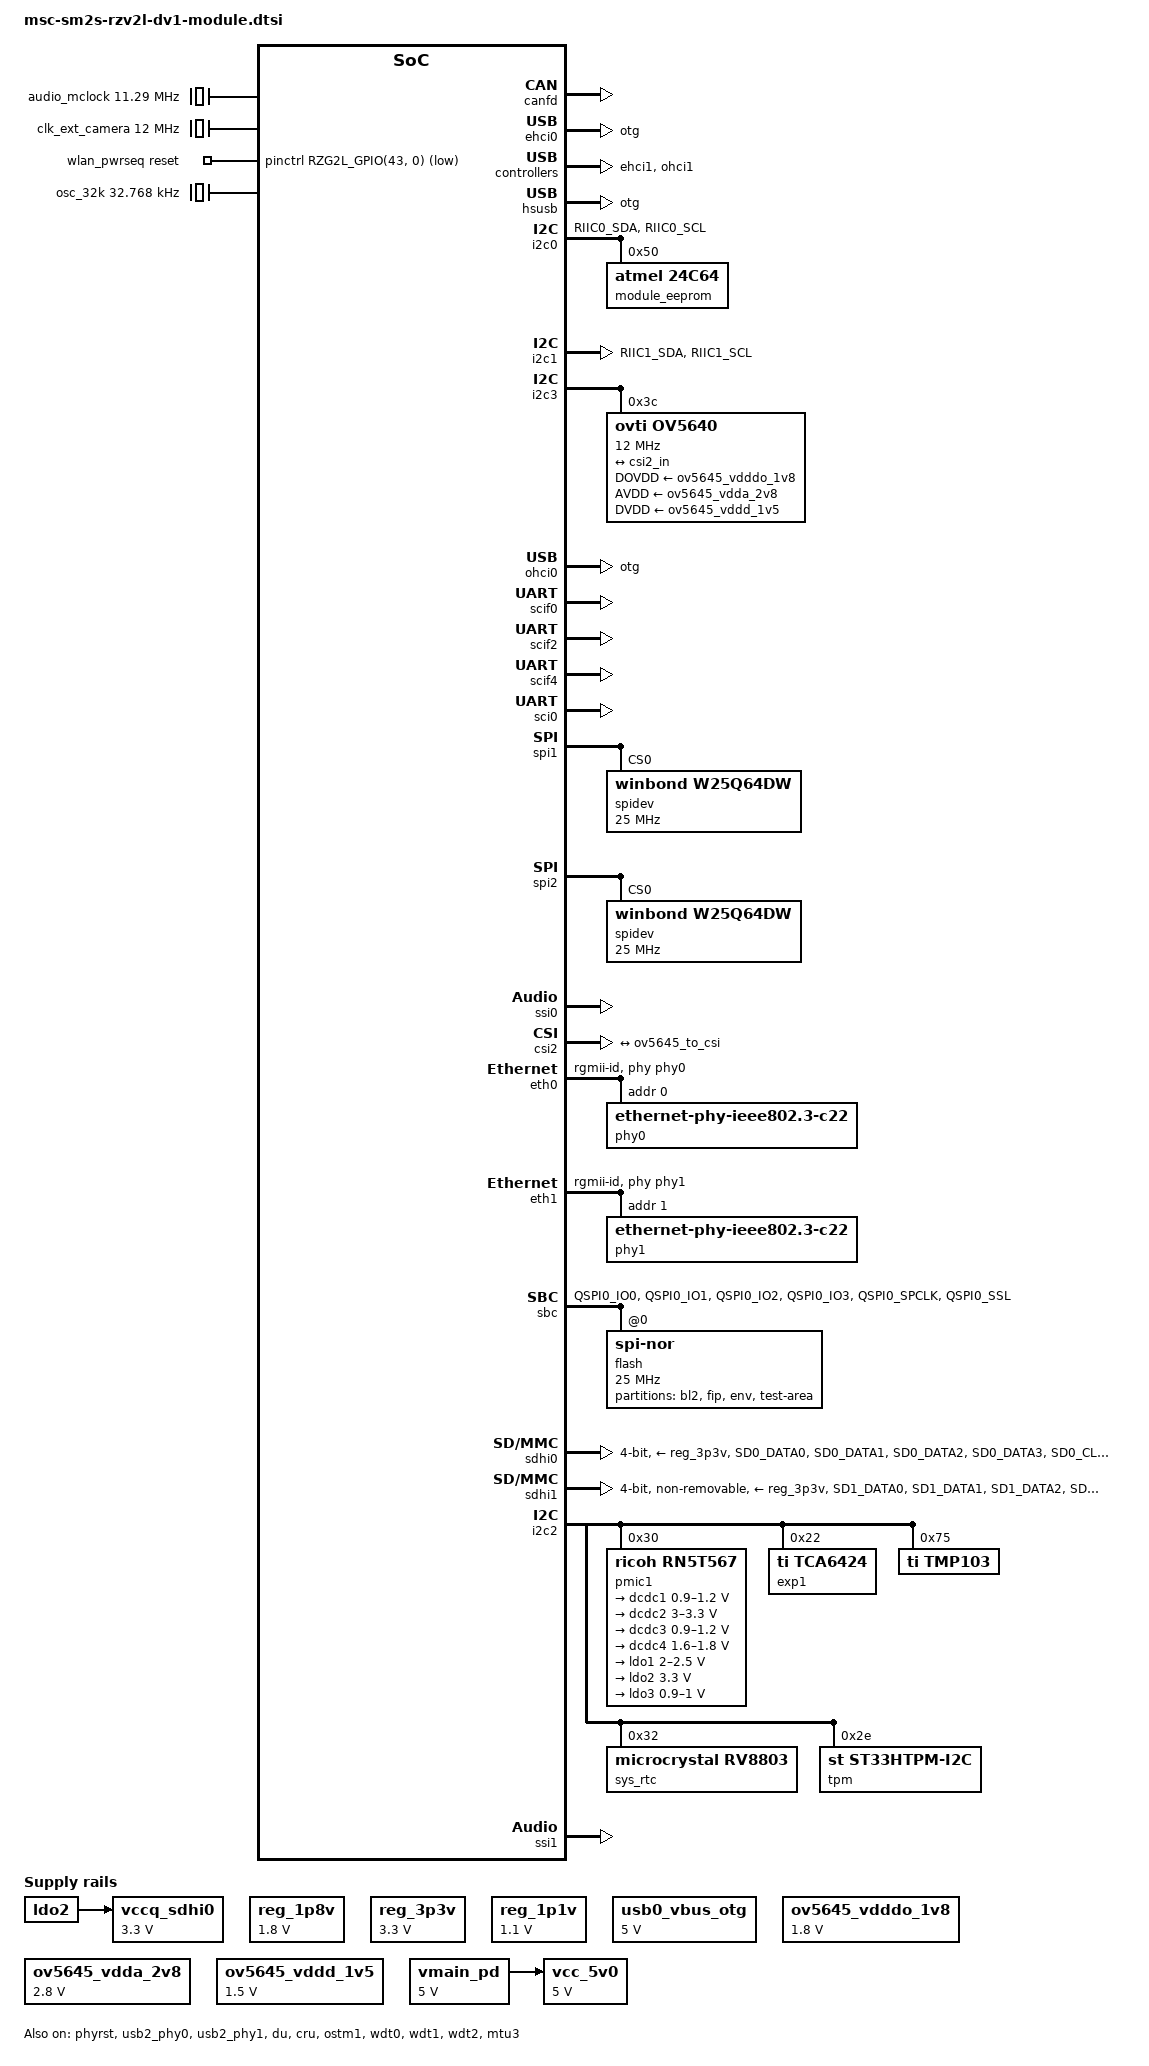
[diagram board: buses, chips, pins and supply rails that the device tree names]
/*                                                                    
 * Copyright (C) 2022 Avnet Embedded GmbH                             
 *                                                                    
 * This program is free software; you can redistribute it and/or      
 * modify it under the terms of the GNU General Public License as     
 * published by the Free Software Foundation version 2.               
 *                                                                    
 * This program is distributed "as is" WITHOUT ANY WARRANTY of any    
 * kind, whether express or implied; without even the implied warranty
 * of MERCHANTABILITY or FITNESS FOR A PARTICULAR PURPOSE.  See the   
 * GNU General Public License for more details.                       
 */                                                                   

#include <dt-bindings/gpio/gpio.h>
#include <dt-bindings/pinctrl/rzg2l-pinctrl.h>
#include <dt-bindings/interrupt-controller/arm-gic.h>
#include <dt-bindings/clock/r9a07g054-cpg.h>         
#include <dt-bindings/net/ti-dp83867.h>

/ {
	aliases {
		ethernet0 = &eth0;
		serial0 = &scif0;
		i2c0 = &i2c0;
		i2c1 = &i2c1;
		i2c2 = &i2c2;
		i2c3 = &i2c3;
		mmc0 = &sdhi0;
		mmc1 = &sdhi1;
	};

	chosen {
		bootargs = "ignore_loglevel";
		stdout-path = "serial0:115200n8";
	};

	audio_mclock: audio_mclock {
        	compatible = "fixed-clock";
        	#clock-cells = <0>;
        	clock-frequency = <11289600>;
	};
	
	reg_1p8v: regulator0 {
		compatible = "regulator-fixed";
		regulator-name = "fixed-1.8V";
		regulator-min-microvolt = <1800000>;
		regulator-max-microvolt = <1800000>;
		regulator-boot-on;
		regulator-always-on;
	};

	reg_3p3v: regulator1 {
		compatible = "regulator-fixed";
		regulator-name = "fixed-3.3V";
		regulator-min-microvolt = <3300000>;
		regulator-max-microvolt = <3300000>;
		regulator-boot-on;
		regulator-always-on;
	};

	reg_1p1v: regulator-vdd-core {
		compatible = "regulator-fixed";
		regulator-name = "fixed-1.1V";
		regulator-min-microvolt = <1100000>;
		regulator-max-microvolt = <1100000>;
		regulator-boot-on;
		regulator-always-on;
	};

	usb0_vbus_otg: regulator-usb0-vbus-otg {
		compatible = "regulator-fixed";
		regulator-name = "USB0_VBUS_OTG";
		regulator-min-microvolt = <5000000>;
		regulator-max-microvolt = <5000000>;
	};

	vring-ctl0@43000000 {
		compatible = "vring_uio";
		reg = <0x0 0x43000000 0x0 0x100000>;
		no-map;
	};

	vring-ctl1@43100000 {
		compatible = "vring_uio";
		reg = <0x0 0x43100000 0x0 0x100000>;
		no-map;
	};

	vring-shm0@43200000 {
		compatible = "shm_uio";
		reg = <0x0 0x43200000 0x0 0x300000>;
		no-map;
	};

	vring-shm1@43500000 {
		compatible = "shm_uio";
		reg = <0x0 0x43500000 0x0 0x300000>;
		no-map;
	};

	rsctbl@42f00000 {
		compatible = "shm_uio";
		reg = <0x0 0x42f00000 0x0 0x1000>;
		no-map;
	};

	mhu-shm@42f01000 {
		compatible = "shm_uio";
		reg = <0x0 0x42f01000 0x0 0x1000>;
		no-map;
	};

	mbox-uio@10400000 {
		compatible = "mbox_uio";
		reg = <0x0 0x10400000 0x0 0x1000>;
		interrupt-parent = <&gic>;
		interrupts = <GIC_SPI 75 IRQ_TYPE_LEVEL_HIGH>;
		status = "okay";
	};

	/* For SD Card we use UHS mode and use 1.8 V */
	vccq_sdhi0: regulator-vccq-sdhi0 {
		compatible = "regulator-fixed";
		regulator-name = "SDHI0 VccQ";
		regulator-min-microvolt = <3300000>;
		regulator-max-microvolt = <3300000>;
		vin-supply = <&ldo2>;
		regulator-always-on;
		regulator-boot-on;
	};

	clk_ext_camera: clk_ext_camera {
		compatible = "fixed-clock";
		#clock-cells = <0>;
		clock-frequency = <12000000>;
	};

	ov5645_vdddo_1v8: 1p8v {
		compatible = "regulator-fixed";
		regulator-name = "camera_vdddo";
		regulator-min-microvolt = <1800000>;
		regulator-max-microvolt = <1800000>;
		regulator-always-on;
	};

	ov5645_vdda_2v8: 2p8v {
		compatible = "regulator-fixed";
		regulator-name = "camera_vdda";
		regulator-min-microvolt = <2800000>;
		regulator-max-microvolt = <2800000>;
		regulator-always-on;
	 };

	ov5645_vddd_1v5: 1p5v {
		compatible = "regulator-fixed";
		regulator-name = "camera_vddd";
		regulator-min-microvolt = <1500000>;
		regulator-max-microvolt = <1500000>;
		regulator-always-on;
	};
	
	vmain_pd: regulator3 {
        	compatible = "regulator-fixed";
        	regulator-name = "vmain_pd";
        	regulator-min-microvolt = <5000000>;
        	regulator-max-microvolt = <5000000>;
        	regulator-always-on;
        	regulator-boot-on;
	};

	vcc_5v0: regulator2 {
        	compatible = "regulator-fixed";
        	regulator-name = "vcc_5v0";
        	regulator-min-microvolt = <5000000>;
        	regulator-max-microvolt = <5000000>;
        	vin-supply = <&vmain_pd>;
        	regulator-always-on;
        	regulator-boot-on;
	};

	/*extcon_usbotg1: extcon_usbotg1 {
		pinctrl-names = "default";
		pinctrl-0 = <&usb0_otg>;
        	compatible = "linux,extcon-usb-gpio";
        	id-gpio = <&pinctrl RZG2L_GPIO(5, 1) GPIO_ACTIVE_HIGH>;
	};*/

	wlan_pwrseq: wlan_pwrseq {
	        compatible = "mmc-pwrseq-simple";
	        reset-gpios = <&pinctrl RZG2L_GPIO(43, 0) GPIO_ACTIVE_LOW>;  /* WIFI_EN_DEV */
	        clocks = <&osc_32k>;
	        clock-names = "ext_clock";
	        post-power-on-delay-ms = <80>;
	};

	osc_32k: osc_32k {
	        compatible = "fixed-clock";
	        #clock-cells = <0>;
	        clock-frequency = <32768>;
	        clock-output-names = "osc_32k";
	};

};

&audio_clk1{
	clock-frequency = <11289600>;
};

&audio_clk2{
	clock-frequency = <11289600>;
};

&canfd {
	pinctrl-0 = <&can0_pins &can1_pins>;
	pinctrl-names = "default";
	status = "okay";

	channel0 {
		status = "okay";
	};

	channel1 {
		status = "okay";
	};
};

&ehci0 {
	dr_mode = "otg";
	status = "okay";
};

&ehci1 {
	status = "okay";
};

&hsusb {
	dr_mode = "otg";
	status = "okay";
};

&i2c0 {
	pinctrl-0 = <&i2c0_pins>;
	pinctrl-names = "default";

	status = "okay";

	module_eeprom@50 {
        	compatible = "atmel,24c64";
        	reg = <0x50>;
        	pagesize = <32>;
	};
};

&i2c1 {
	pinctrl-0 = <&i2c1_pins>;
	pinctrl-names = "default";

	status = "okay";
};

&i2c3 {
	pinctrl-0 = <&i2c3_pins>;
	pinctrl-names = "default";

	status = "okay";

	ov5640: ov5640@3c {
        	compatible = "ovti,ov5640";
        	reg = <0x3c>;
        	clock-names = "xclk";
        	clocks = <&clk_ext_camera>;
        	clock-frequency = <12000000>;
        	DOVDD-supply = <&ov5645_vdddo_1v8>;
        	AVDD-supply = <&ov5645_vdda_2v8>;
        	DVDD-supply = <&ov5645_vddd_1v5>;

        	port {
        	        ov5645_to_csi: endpoint {
        	                clock-lanes = <0>;
        	                data-lanes = <1 2>;
        	                remote-endpoint = <&csi2_in>;
        	                bus-width = <8>;
        	                hsync-active = <0>;
        	                vsync-active = <1>;
        	                pclk-sample = <0>;
        	        };
        	};
	};
};

&ohci0 {
	dr_mode = "otg";
	status = "okay";
};

&ohci1 {
	status = "okay";
};

&phyrst {
	status = "okay";
};

&scif0 {
	pinctrl-0 = <&scif0_pins>;
	pinctrl-names = "default";
	status = "okay";
};

&scif2 {
        pinctrl-0 = <&scif2_pins>;
        pinctrl-names = "default";
        uart-has-rtscts;
        status = "okay";
};

&scif4 {
        pinctrl-0 = <&scif4_pins>;
        pinctrl-names = "default";
        status = "okay";
};

&sci0 {
        pinctrl-0 = <&sci0_pins>;
        pinctrl-names = "default";
        status = "okay";
};

&spi1 {
        pinctrl-0 = <&spi1_pins>;
        pinctrl-names = "default";
        status = "okay";

        spidev@0x00 {
                compatible="winbond,w25q64dw","jedec,spi-nor";
                spi-max-frequency = <25000000>;
                reg = <0>;
        };
};

&spi2 {
        pinctrl-0 = <&spi2_pins>;
        pinctrl-names = "default";
        status = "okay";

        spidev@0x00 {
                compatible="winbond,w25q64dw","jedec,spi-nor";
                spi-max-frequency = <25000000>;
                reg = <0>;
        };
};

&ssi0 {
	pinctrl-0 = <&ssi0_pins>;
	pinctrl-names = "default";

	status = "okay";
};

&usb2_phy0 {
	pinctrl-0 = <&usb0_pins>;
	pinctrl-names = "default";
	dr_mode = "peripheral";
	usb-role-switch;
	gpio = <&pinctrl RZG2L_GPIO(5, 1) GPIO_ACTIVE_HIGH>;
	//extcon = <&extcon_usbotg1>;
	vbus-supply = <&usb0_vbus_otg>;
	status = "okay";
};

&usb2_phy1 {
	pinctrl-0 = <&usb1_pins>;
	pinctrl-names = "default";

	status = "okay";
};

&du {
	status = "okay";
};

&cru {
	status = "okay";
};

&csi2 {
	status = "okay";

	ports {
		port {
			csi2_in: endpoint {
				clock-lanes = <0>;
				data-lanes = <1 2>;
				remote-endpoint = <&ov5645_to_csi>;
			};
		};
	};
};

&eth0 {
        pinctrl-0 = <&eth0_pins>;
        pinctrl-names = "default";
        phy-handle = <&phy0>;
        phy-mode = "rgmii-id";
        status = "okay";

        phy0: ethernet-phy@0 {
                compatible = "ethernet-phy-ieee802.3-c22";
                reg = <0>;
                ti,rx-internal-delay = <DP83867_RGMIIDCTL_2_00_NS>;
                ti,tx-internal-delay = <DP83867_RGMIIDCTL_2_00_NS>;
                ti,fifo-depth = <DP83867_PHYCR_FIFO_DEPTH_4_B_NIB>;
                ti,min-output-impedance;
        };
};


&eth1 {
	pinctrl-0 = <&eth1_pins>;
	pinctrl-names = "default";
	phy-handle = <&phy1>;
	phy-mode = "rgmii-id";
	status = "okay";

	phy1: ethernet-phy@1 {
		compatible = "ethernet-phy-ieee802.3-c22";
		reg = <1>;
                ti,rx-internal-delay = <DP83867_RGMIIDCTL_2_00_NS>;
                ti,tx-internal-delay = <DP83867_RGMIIDCTL_2_00_NS>;
                ti,fifo-depth = <DP83867_PHYCR_FIFO_DEPTH_4_B_NIB>;
                ti,min-output-impedance;
	};
};

&extal_clk {
	clock-frequency = <24000000>;
};

&gpu {
	mali-supply = <&reg_1p1v>;
};

&ostm1 {
	status = "okay";
};

&ostm2 {
	status = "disabled";
};

&pinctrl {
	
	pinctrl-0 = <&sound_clk_pins>;
	pinctrl-names = "default";
	
	eth0_pins: eth0 {
		pinmux = <RZG2L_PORT_PINMUX(28, 1, 1)>, /* ET0_LINKSTA */
			 <RZG2L_PORT_PINMUX(27, 1, 1)>, /* ET0_MDC */
			 <RZG2L_PORT_PINMUX(28, 0, 1)>, /* ET0_MDIO */
			 <RZG2L_PORT_PINMUX(20, 0, 1)>, /* ET0_TXC */
			 <RZG2L_PORT_PINMUX(20, 1, 1)>, /* ET0_TX_CTL */
			 <RZG2L_PORT_PINMUX(20, 2, 1)>, /* ET0_TXD0 */
			 <RZG2L_PORT_PINMUX(21, 0, 1)>, /* ET0_TXD1 */
			 <RZG2L_PORT_PINMUX(21, 1, 1)>, /* ET0_TXD2 */
			 <RZG2L_PORT_PINMUX(22, 0, 1)>, /* ET0_TXD3 */
			 <RZG2L_PORT_PINMUX(24, 0, 1)>, /* ET0_RXC */
			 <RZG2L_PORT_PINMUX(24, 1, 1)>, /* ET0_RX_CTL */
			 <RZG2L_PORT_PINMUX(25, 0, 1)>, /* ET0_RXD0 */
			 <RZG2L_PORT_PINMUX(25, 1, 1)>, /* ET0_RXD1 */
			 <RZG2L_PORT_PINMUX(26, 0, 1)>, /* ET0_RXD2 */
			 <RZG2L_PORT_PINMUX(26, 1, 1)>; /* ET0_RXD3 */
	};

	eth1_pins: eth1 {
		pinmux = <RZG2L_PORT_PINMUX(37, 2, 1)>, /* ET1_LINKSTA */
			 <RZG2L_PORT_PINMUX(37, 0, 1)>, /* ET1_MDC */
			 <RZG2L_PORT_PINMUX(37, 1, 1)>, /* ET1_MDIO */
			 <RZG2L_PORT_PINMUX(29, 0, 1)>, /* ET1_TXC */
			 <RZG2L_PORT_PINMUX(29, 1, 1)>, /* ET1_TX_CTL */
			 <RZG2L_PORT_PINMUX(30, 0, 1)>, /* ET1_TXD0 */
			 <RZG2L_PORT_PINMUX(30, 1, 1)>, /* ET1_TXD1 */
			 <RZG2L_PORT_PINMUX(31, 0, 1)>, /* ET1_TXD2 */
			 <RZG2L_PORT_PINMUX(31, 1, 1)>, /* ET1_TXD3 */
			 <RZG2L_PORT_PINMUX(33, 1, 1)>, /* ET1_RXC */
			 <RZG2L_PORT_PINMUX(34, 0, 1)>, /* ET1_RX_CTL */
			 <RZG2L_PORT_PINMUX(34, 1, 1)>, /* ET1_RXD0 */
			 <RZG2L_PORT_PINMUX(35, 0, 1)>, /* ET1_RXD1 */
			 <RZG2L_PORT_PINMUX(35, 1, 1)>, /* ET1_RXD2 */
			 <RZG2L_PORT_PINMUX(36, 0, 1)>; /* ET1_RXD3 */
	};

	qspi0_pins: qspi0 {
		qspi0-data {
			pins = "QSPI0_IO0", "QSPI0_IO1", "QSPI0_IO2", "QSPI0_IO3";
			power-source = <3300>;
		};

		qspi0-ctrl {
			pins = "QSPI0_SPCLK", "QSPI0_SSL";
			power-source = <3300>;
		};
	};

	sdhi1_emmc_pins: sd1emmc {
		sd1_emmc_data {
			pins = "SD1_DATA0", "SD1_DATA1", "SD1_DATA2", "SD1_DATA3",
			       "SD1_DATA4", "SD1_DATA5", "SD1_DATA6", "SD1_DATA7";
			power-source = <1800>;
		};

		sd1_emmc_ctrl {
			pins = "SD1_CLK", "SD1_CMD";
			power-source = <1800>;
		};

		/*sd0_emmc_rst {
			pins = "SD0_RST#";
			power-source = <1800>;
		};*/
	};

	sdhi0_pins: sd0 {
		sd0_data {
			pins = "SD0_DATA0", "SD0_DATA1", "SD0_DATA2", "SD0_DATA3";
			power-source = <3300>;
		};

		sd0_ctrl {
			pins = "SD0_CLK", "SD0_CMD";
			power-source = <3300>;
		};

		sd0_mux {
			pinmux = <RZG2L_PORT_PINMUX(18, 0, 1)>, /* SD0_CD */
				 <RZG2L_PORT_PINMUX(18, 1, 1)>; /* SD0_WP */
		};
	};

	sdhi0_pins_uhs: sd0_uhs {
		sd0_data_uhs {
			pins = "SD0_DATA0", "SD0_DATA1", "SD0_DATA2", "SD0_DATA3";
			power-source = <1800>;
		};

		sd0_ctrl_uhs {
			pins = "SD0_CLK", "SD0_CMD";
			power-source = <1800>;
		};

		sd0_mux_uhs {
			pinmux = <RZG2L_PORT_PINMUX(18, 0, 1)>, /* SD0_CD */
				 <RZG2L_PORT_PINMUX(18, 1, 1)>; /* SD0_WP */
		};
	};

	can0_pins: can0 {
		pinmux = <RZG2L_PORT_PINMUX(10, 1, 2)>, /* TX */
			 <RZG2L_PORT_PINMUX(11, 0, 2)>; /* RX */
	};

	can1_pins: can1 {
		pinmux = <RZG2L_PORT_PINMUX(12, 1, 2)>, /* TX */
			 <RZG2L_PORT_PINMUX(13, 0, 2)>; /* RX */
	};

	i2c0_pins: i2c0 {
		pins = "RIIC0_SDA", "RIIC0_SCL";
		input-enable;
	};

	i2c1_pins: i2c1 {
		pins = "RIIC1_SDA", "RIIC1_SCL";
		input-enable;
	};

	/*Added I2C-2 node*/
	i2c2_pins: i2c2 {
        	pinmux = <RZG2L_PORT_PINMUX(46, 0, 4)>,/* SDA */
                	 <RZG2L_PORT_PINMUX(46, 1, 4)>;/* SCL */
	};
	
	/*Changed GPIO number and function*/
	i2c3_pins: i2c3 {
		pinmux = <RZG2L_PORT_PINMUX(46, 2, 4)>, /* SDA */
			 <RZG2L_PORT_PINMUX(46, 3, 4)>; /* SCL */
	};

	scif0_pins: scif0 {
		pinmux = <RZG2L_PORT_PINMUX(38, 0, 1)>,	/* TxD */
			 <RZG2L_PORT_PINMUX(38, 1, 1)>;	/* RxD */
			 //<RZG2L_PORT_PINMUX(39, 1, 1)>,	/* CTS */
			 //<RZG2L_PORT_PINMUX(39, 2, 1)>;	/* RTS */
	};
	
	scif1_pins: scif1 {
		pinmux = <RZG2L_PORT_PINMUX(40, 0, 1)>,	/* TxD */
			 <RZG2L_PORT_PINMUX(40, 1, 1)>,	/* RxD */
			 <RZG2L_PORT_PINMUX(41, 0, 1)>,	/* CTS */
			 <RZG2L_PORT_PINMUX(41, 1, 1)>;	/* RTS */
	};
	
	scif2_pins: scif2 {
		pinmux = <RZG2L_PORT_PINMUX(16, 0, 2)>,	/* TxD */
			 <RZG2L_PORT_PINMUX(16, 1, 2)>,	/* RxD */
			 <RZG2L_PORT_PINMUX(17, 1, 2)>,	/* CTS */
			 <RZG2L_PORT_PINMUX(17, 2, 2)>;	/* RTS */
	};
	
	scif4_pins: scif4 {
		pinmux = <RZG2L_PORT_PINMUX(2, 0, 5)>,	/* TxD */
			 <RZG2L_PORT_PINMUX(2, 1, 5)>;	/* RxD */
	};
	
	sci0_pins: sci0 {
		pinmux = <RZG2L_PORT_PINMUX(0, 0, 2)>, /* RXD */
			 <RZG2L_PORT_PINMUX(0, 1, 2)>; /* TxD */
	};

	sdhi1_pins: sd1 {
		sd1_data {
			pins = "SD1_DATA0", "SD1_DATA1", "SD1_DATA2", "SD1_DATA3";
			power-source = <3300>;
		};

		sd1_ctrl {
			pins = "SD1_CLK", "SD1_CMD";
			power-source = <3300>;
		};

		sd1_mux {
			pinmux = <RZG2L_PORT_PINMUX(19, 0, 1)>; /* SD1_CD */
		};
	};

	sdhi1_pins_uhs: sd1_uhs {
		sd1_data_uhs {
			pins = "SD1_DATA0", "SD1_DATA1", "SD1_DATA2", "SD1_DATA3";
			power-source = <1800>;
		};

		sd1_ctrl_uhs {
			pins = "SD1_CLK", "SD1_CMD";
			power-source = <1800>;
		};

		sd1_mux_uhs {
			pinmux = <RZG2L_PORT_PINMUX(19, 0, 1)>; /* SD1_CD */
		};
	};

	sound_clk_pins: sound_clk {
		pins = "AUDIO_CLK1", "AUDIO_CLK2";
		input-enable;
	};

	spi2_pins: spi2 {
		pinmux = <RZG2L_PORT_PINMUX(42, 0, 2)>, /* CK */
			 <RZG2L_PORT_PINMUX(42, 1, 2)>, /* MOSI */
			 <RZG2L_PORT_PINMUX(42, 2, 2)>, /* MISO */
			 <RZG2L_PORT_PINMUX(42, 3, 2)>; /* SSL */
	};
	
	ssi0_pins: ssi0 {
		pinmux = <RZG2L_PORT_PINMUX(6, 0, 2)>, /* BCK */
			 <RZG2L_PORT_PINMUX(6, 1, 2)>, /* RCK */
			 <RZG2L_PORT_PINMUX(7, 0, 2)>, /* TXD */
			 <RZG2L_PORT_PINMUX(7, 1, 2)>; /* RXD */
	};

	ssi1_pins: ssi1 {
		pinmux = <RZG2L_PORT_PINMUX(14, 0, 2)>, /* BCK */
			 <RZG2L_PORT_PINMUX(14, 1, 2)>, /* RCK */
			 <RZG2L_PORT_PINMUX(15, 0, 2)>, /* TXD */
			 <RZG2L_PORT_PINMUX(15, 1, 2)>; /* RXD */
	};

	usb0_pins: usb0 {
		pinmux = <RZG2L_PORT_PINMUX(4, 0, 1)>, /* VBUS */
			 <RZG2L_PORT_PINMUX(5, 0, 1)>, /* OVC */
			 <RZG2L_PORT_PINMUX(5, 1, 1)>; /* OTG_ID */
	};

	usb1_pins: usb1 {
		pinmux = <RZG2L_PORT_PINMUX(8, 0, 2)>, /* VBUS */
			 <RZG2L_PORT_PINMUX(8, 1, 2)>; /* OVC */
	};

	//usb0_otg: extcon {
	//	pinmux = <RZG2L_PORT_PINMUX(5, 1, 1)>; /* OTG_ID */
	//};

	gpt3_pins: gpt3 {
		pinmux = <RZG2L_PORT_PINMUX(3, 0, 3)>, /* Channel A */
			 <RZG2L_PORT_PINMUX(3, 1, 3)>; /* Channel B */
	};

	spi1_pins: rspi1 {
               pinmux = <RZG2L_PORT_PINMUX(44, 0, 1)>, /* RSPI1_CK */
                        <RZG2L_PORT_PINMUX(44, 1, 1)>, /*RSPI1_MOSI*/
                        <RZG2L_PORT_PINMUX(44, 2, 1)>, /*RSPI1_MISO*/
                        <RZG2L_PORT_PINMUX(44, 3, 1)>; /*RSPI1_SSL*/
	};

	mtu0_pins:mtu0 {
               pinmux = <RZG2L_PORT_PINMUX(1, 0, 4)>,
			 <RZG2L_PORT_PINMUX(1, 1, 4)>;
	};
};

&sbc {
	pinctrl-0 = <&qspi0_pins>;
	pinctrl-names = "default";
	status = "okay";

	flash@0 {
		compatible = "jedec,spi-nor";
        	reg = <0>;
        	m25p,fast-read;
		spi-max-frequency = <25000000>;
        	spi-tx-bus-width = <1>;
		spi-rx-bus-width = <1>;

        	partitions {
        	        compatible = "fixed-partitions";
        	        #address-cells = <1>;
        	        #size-cells = <1>;

        	        partition@000000 {
        	                label = "bl2";
        	                reg = <0x00000000 0x0001D200>;
        	                read-only;
        	        };
        	        partition@01D200 {
        	                label = "fip";
        	                reg = <0x0001D200 0x001C2E00>;
        	                read-only;
        	        };
        	        partition@1E0000 {
        	                label = "env";
        	                reg = <0x001E0000 0x00020000>;
        	                read-only;
        	        };
        	        partition@200000 {
        	                label = "test-area";
        	                reg = <0x00200000 0x00E00000>;
        	        };
        	};
	};

};

&sdhi0 {
	pinctrl-0 = <&sdhi0_pins>;
	pinctrl-1 = <&sdhi0_pins_uhs>;
	pinctrl-names = "default", "state_uhs";

	vmmc-supply = <&reg_3p3v>;
	vqmmc-supply = <&vccq_sdhi0>;
	bus-width = <4>;
	//sd-uhs-sdr50;
	//sd-uhs-sdr104;
	status = "okay";
        disable-wp;
};

&sdhi1 {
	pinctrl-0 = <&sdhi1_emmc_pins>;
	pinctrl-1 = <&sdhi1_emmc_pins>;
	pinctrl-names = "default", "state_uhs";

	vmmc-supply = <&reg_3p3v>;
	vqmmc-supply = <&reg_1p8v>;
	bus-width = <4>;
	mmc-hs200-1_8v;
	non-removable;
	fixed-emmc-driver-type = <1>;
	status = "okay";
};

&wdt0 {
	status = "okay";
	timeout-sec = <60>;
};

&wdt1 {
	status = "okay";
	timeout-sec = <60>;
};

&wdt2 {
	status = "okay";
	timeout-sec = <60>;
};

&ehci0 {
	memory-region = <&global_cma>;
};

&ohci0 {
	memory-region = <&global_cma>;
};

&ehci1 {
	memory-region = <&global_cma>;
};

&ohci1 {
	memory-region = <&global_cma>;
};

&i2c2 {
	pinctrl-names = "default";
	pinctrl-0 = <&i2c2_pins>;
	status="okay";

	pmic1: pmic@30 {
        	compatible = "ricoh,rn5t567";
        	reg = <0x30>;
        	pmic-id = <0>;
        	sleep-sequence = /bits/ 8 <
                        	0x16    0x2b
                        	0x17    0x49
                        	0x1b    0x2b
                        	0x1c    0x67
                        	0x1f    0x0b
                        	0x32    0x03
                        	0x30    0x03
                	>;

        	regulators {
        	        dcdc1:DCDC1 {
        	                regulator-name = "VCC_DRAM_VPU_0V9";
				regulator-always-on;
        	                regulator-min-microvolt = <900000>;
        	                regulator-max-microvolt = <1200000>;
        	        };
        	        dcdc2:DCDC2 {
        	                regulator-name = "VCC_ARM_0V9";
        	                regulator-always-on;
        	                regulator-min-microvolt = <3000000>;
        	                regulator-max-microvolt = <3300000>;
        	        };

        	        dcdc3:DCDC3 {
        	                regulator-name = "VCC_DDR_1V2";
        	                regulator-always-on;
        	                regulator-min-microvolt = <900000>;
        	                regulator-max-microvolt = <1200000>;
        	        };

        	        dcdc4:DCDC4 {
        	                regulator-name = "VCC_SYS_1V8";
        	                regulator-always-on;
        	                regulator-min-microvolt = <1600000>;
        	                regulator-max-microvolt = <1800000>;
        	        };
        	        ldo1:LDO1 {
        	                regulator-name = "VCC_PHY_2V5";
        	                regulator-always-on;
        	                regulator-min-microvolt = <2000000>;
        	                regulator-max-microvolt = <2500000>;
        	        };

			/* For SD Card we use USH mode and use 1.8 V */
			ldo2:LDO2 {
				regulator-name = "VCC_LDO2_1V8";
				regulator-always-on;
				regulator-min-microvolt = <3300000>;
				regulator-max-microvolt = <3300000>;
			};
			
			ldo3:LDO3 {
				regulator-name = "VCC_LDO3_1V0";
				regulator-always-on;
				regulator-min-microvolt = <900000>;
				regulator-max-microvolt = <1000000>;
			};
		};
	};

	exp1: gpio@22 {
        	compatible = "ti,tca6424";
        	reg = <0x22>;
        	gpio-controller;
        	#gpio-cells = <2>;

		gpio-LCD2-en-hog {
        	        gpio-hog;
        	        output-high;
        	        gpios = <9 GPIO_ACTIVE_HIGH>;
        	        line-name = "gpio_LCD2_en";
        	};
		
		gpio-LCD1-en-hog {
        	        gpio-hog;
        	        output-high;
        	        gpios = <8 GPIO_ACTIVE_HIGH>;
        	        line-name = "gpio_LCD1_en";
        	};
	};

	tmp103: tmp103@75 {
        	compatible = "ti,tmp103";
        	reg = <0x75>;
	};

	sys_rtc: rtc@32 {
        	compatible = "microcrystal,rv8803";
        	reg = <0x32>;
	};

	tpm: st33tphf20@2e {
		compatible = "st,st33htpm-i2c";
		reg = <0x2e>;
		status = "okay";
	};

	dsi_lvds_bridge: sn65dsi84@2d {
		status = "disabled";
	};
};

&ssi1 {                                                             
        pinctrl-0 = <&ssi1_pins>;                                   
        pinctrl-names = "default";                                  
                                                                    
        status = "okay";                                            
};                                                                  

&mtu3 {
       pinctrl-0 = <&mtu0_pins>;
       pinctrl-names = "default";
       pwm_mode1 = <0 1>;
       pwm_complementary = <0 1>;
        #pwm-cells = <2>;
        clocks = <&cpg CPG_MOD R9A07G054_MTU_X_MCK_MTU3>;
        clock-names = "fck";
       /*pwm-params = <MTU_PWM_NORMAL 0 50>;*/
       status = "okay";
};

